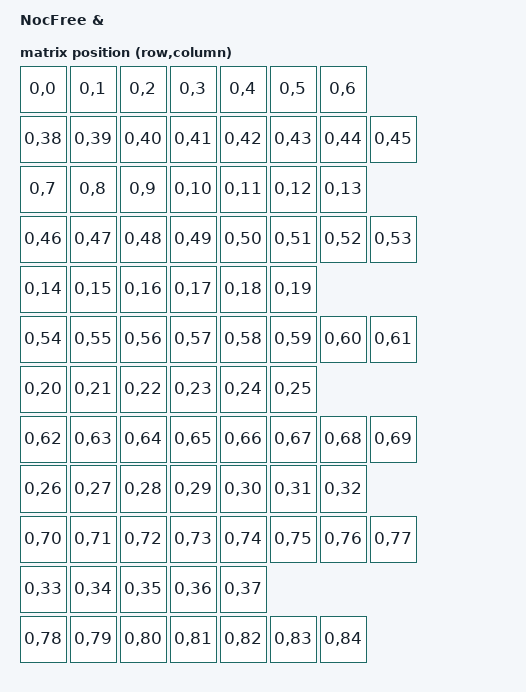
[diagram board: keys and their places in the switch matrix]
/*
 * Copyright (c) 2026 The NocFree ZMK Contributors
 *
 * SPDX-License-Identifier: MIT
 */

/dts-v1/;

#include <nordic/nrf52833_qiaa.dtsi>
#include <common/nordic/nrf52833_uf2_boot_mode.dtsi>
#include <dt-bindings/gpio/gpio.h>
#include <dt-bindings/i2c/i2c.h>
#include <dt-bindings/pwm/pwm.h>
#include <dt-bindings/zmk/matrix_transform.h>

#include "nocfree_and-pinctrl.dtsi"
#include "nocfree_and-layouts.dtsi"

/ {
    model = "NocFree &";
    compatible = "nocfree,nocfree-and";

    chosen {
        zephyr,code-partition = &code_partition;
        zephyr,sram = &sram0;
        zephyr,flash = &flash0;
        zmk,physical-layout = &iso_layout;
        zmk,backlight = &backlight;
    };

    /*
     * Backlight on P0.20, the pin section 4 of the porting guide publishes as
     * D5 on both halves.
     *
     * Active high, established on hardware: with the channel inverted, the
     * backlight was lit at brightness 0 and dimmed as the level rose. The
     * porting guide's note that the factory API "drives the pin low at
     * endpoint 255" does not translate into an inverted Zephyr channel; the
     * measurement wins. See docs/backlight.md.
     *
     * 200 Hz, and it must not get faster. 25 kHz was tried, to silence a whine
     * the left half developed at low duty, and it worked -- but the left half
     * then would not go dim any more. The duty ratio was identical either way
     * (6/640 against 160/16000, both ~1 %), so the extra light is the LED stage
     * responding to the pulse *shape*: at 40 us a fixed turn-off tail is a large
     * part of every cycle, at 1 ms it is negligible. On this hardware the PWM
     * rate therefore sets how dim the backlight can go, and raising it raises
     * the floor.
     *
     * So the whine is chased downwards instead. Raising the duty did not help
     * (3 % and 4 % both whined), which leaves the rate: a small ceramic radiates
     * a low tone far less efficiently, and the ear is less sensitive there,
     * while a longer period keeps the turn-off tail insignificant and the dim
     * end intact. 200 Hz is well above flicker fusion but the phantom-array
     * effect can show during eye movement -- that is the thing to watch for.
     * See docs/backlight.md.
     */
    backlight_pwm: pwmleds {
        compatible = "pwm-leds";
        status = "okay";

        pwm_led_0: pwm_led_0 {
            pwms = <&pwm0 0 PWM_MSEC(5) PWM_POLARITY_NORMAL>;
        };
    };

    /*
     * ZMK sends one brightness value to both halves and has no per-half
     * adjustment, but the halves do not reach the same brightness at the same
     * duty: part of that is supply voltage (a half on USB is brighter than one
     * on battery) and part survives at equal supply. The per-half scale is set
     * in each board's own .dts. See docs/backlight.md.
     */
    backlight: backlight_scaled {
        compatible = "nocfree,scaled-led";
        status = "okay";
        target = <&backlight_pwm>;
        scale-percent = <100>;

        scaled_led_0 {
        };
    };

    /*
     * The keys are not an electrical row/column matrix: every key has its own
     * expander input. The transform is therefore a single logical row of 85
     * independent columns, listed here in visual reading order.
     *
     * Columns 0-37 are the left half and columns 38-84 are the right half.
     * Each half reports its own local column index; the right half shifts its
     * indices into the second range with col-offset, so both halves resolve to
     * the same global keymap positions. That is what lets the split peripheral
     * send absolute positions to the central.
     */
    matrix_transform0: keymap_transform_0 {
        compatible = "zmk,matrix-transform";
        rows = <1>;
        columns = <85>;

        map = <
            /* Function row */
            RC(0,0) RC(0,1) RC(0,2) RC(0,3) RC(0,4) RC(0,5) RC(0,6)
            RC(0,38) RC(0,39) RC(0,40) RC(0,41) RC(0,42) RC(0,43) RC(0,44) RC(0,45)
            /* Number row */
            RC(0,7) RC(0,8) RC(0,9) RC(0,10) RC(0,11) RC(0,12) RC(0,13)
            RC(0,46) RC(0,47) RC(0,48) RC(0,49) RC(0,50) RC(0,51) RC(0,52) RC(0,53)
            /* Tab row */
            RC(0,14) RC(0,15) RC(0,16) RC(0,17) RC(0,18) RC(0,19)
            RC(0,54) RC(0,55) RC(0,56) RC(0,57) RC(0,58) RC(0,59) RC(0,60) RC(0,61)
            /* Home row */
            RC(0,20) RC(0,21) RC(0,22) RC(0,23) RC(0,24) RC(0,25)
            RC(0,62) RC(0,63) RC(0,64) RC(0,65) RC(0,66) RC(0,67) RC(0,68) RC(0,69)
            /* Shift row */
            RC(0,26) RC(0,27) RC(0,28) RC(0,29) RC(0,30) RC(0,31) RC(0,32)
            RC(0,70) RC(0,71) RC(0,72) RC(0,73) RC(0,74) RC(0,75) RC(0,76) RC(0,77)
            /* Bottom row */
            RC(0,33) RC(0,34) RC(0,35) RC(0,36) RC(0,37)
            RC(0,78) RC(0,79) RC(0,80) RC(0,81) RC(0,82) RC(0,83) RC(0,84)
        >;
    };
};

/*
 * The only pins this port configures are the two I2C lines and the backlight
 * PWM output, all through pinctrl. The controllers are enabled so the board
 * can be extended without a devicetree change, and GPIOTE is required
 * alongside them by the nRF GPIO driver.
 */
&gpiote {
    status = "okay";
};

&gpio0 {
    status = "okay";
};

&gpio1 {
    status = "okay";
};

/*
 * SAADC, used only for the battery divider. The divider node itself is
 * per-half: both halves sample AIN2 (P0.04), but the enable line differs
 * (P0.05 left, P0.31 right), so it lives in each board's .dts.
 */
&adc {
    status = "okay";
};

/*
 * Key-input bus.
 *
 * Standard mode (100 kHz) is the conservative default for this port. NocFree
 * documents 400 kHz for the factory firmware and the PCA9555 family is rated
 * for it, but bus margin depends on the interconnect capacitance and pull-up
 * values of a specific unit, which this port has not measured. Any bus that
 * works at 400 kHz also works at 100 kHz, so standard mode is the setting that
 * is safe under either assumption. See docs/architecture.md before raising it.
 */
&i2c0 {
    status = "okay";
    clock-frequency = <I2C_BITRATE_STANDARD>;
    pinctrl-0 = <&i2c0_default>;
    pinctrl-1 = <&i2c0_sleep>;
    pinctrl-names = "default", "sleep";

    pca20: keys@20 {
        compatible = "nocfree,pca9555-keys";
        reg = <0x20>;
        #key-cells = <1>;
        status = "okay";
    };

    pca22: keys@22 {
        compatible = "nocfree,pca9555-keys";
        reg = <0x22>;
        #key-cells = <1>;
        status = "okay";
    };

    pca24: keys@24 {
        compatible = "nocfree,pca9555-keys";
        reg = <0x24>;
        #key-cells = <1>;
        status = "okay";
    };
};

&pwm0 {
    status = "okay";
    pinctrl-0 = <&pwm0_default>;
    pinctrl-1 = <&pwm0_sleep>;
    pinctrl-names = "default", "sleep";
};

zephyr_udc0: &usbd {
    status = "okay";

    cdc_acm_uart0: cdc_acm_uart0 {
        compatible = "zephyr,cdc-acm-uart";
    };
};

/*
 * Flash layout.
 *
 * The device ships with the Adafruit nRF52 UF2 bootloader and an S140 v7
 * SoftDevice. Both regions and the factory filesystem are preserved so the
 * vendor rollback path stays intact; this firmware only ever occupies the
 * application region.
 *
 * The boundaries come from the two public Adafruit linker scripts:
 *   - Adafruit_nRF52_Arduino 1.7.0 cores/nRF5/linker/nrf52833_s140_v7.ld
 *       FLASH ORIGIN = 0x27000, LENGTH = 0x6D000 - 0x27000
 *   - Adafruit_nRF52_Bootloader linker/nrf52833.ld
 *       bootloader 0x74000, config 0x7D800, MBR params 0x7E000,
 *       bootloader settings 0x7F000
 *
 *   0x00000..0x26fff  MBR + S140 v7          preserved, never written
 *   0x27000..0x64fff  ZMK application        248 KiB
 *   0x65000..0x6cfff  ZMK settings (NVS)      32 KiB
 *   0x6d000..0x73fff  factory filesystem     preserved, deliberately unmapped
 *   0x74000..0x7ffff  bootloader + metadata  preserved, never written
 *
 * Verify this against INFO_UF2.TXT on the bootloader drive before flashing.
 */
&flash0 {
    partitions {
        compatible = "fixed-partitions";
        #address-cells = <1>;
        #size-cells = <1>;

        sd_partition: partition@0 {
            label = "softdevice";
            reg = <0x00000000 0x00027000>;
            read-only;
        };

        code_partition: partition@27000 {
            label = "code";
            reg = <0x00027000 0x0003e000>;
        };

        storage_partition: partition@65000 {
            label = "storage";
            reg = <0x00065000 0x00008000>;
        };

        /* 0x6d000..0x73fff is the preserved factory filesystem. */

        boot_partition: partition@74000 {
            label = "adafruit_boot";
            reg = <0x00074000 0x0000c000>;
            read-only;
        };
    };
};
